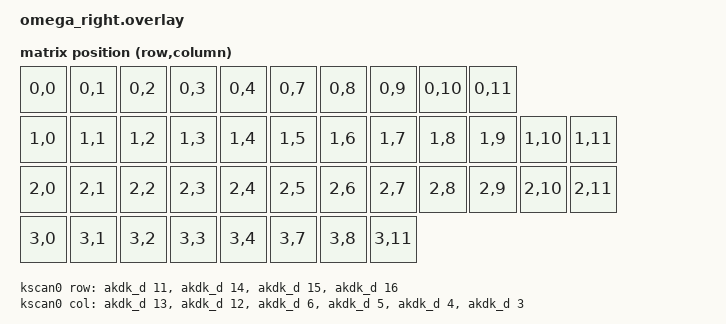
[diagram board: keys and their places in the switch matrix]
#include <dt-bindings/zmk/matrix_transform.h>
#include <input/processors.dtsi>
#include <dt-bindings/zmk/input_transform.h>
#include "layouts.dtsi"
#include <scroll-snap.dtsi>

/* 1. AMLの除外設定 */
&zip_temp_layer {
    excluded-positions = < 18 19 >;
};

/* 2. スクロールスナップのしきい値設定（超強力版に上書き） */
&zip_scroll_snap {
    x-threshold = <1 1>;
    y-threshold = <1 1>;
    xy-threshold = <0 1>;
    require-n-samples = <5>;
    immediate-snap-threshold = <1000>;
    lock-duration-ms = <1000>;
    lock-for-next-n-events = <50>;
    idle-reset-timeout-ms = <200>;
};

/* 3. メインのルートノード */
/ {
    chosen {
        zmk,physical-layout = &physical_layout0;
    };

    default_transform: keymap_transform_0 {
        compatible = "zmk,matrix-transform";
        columns = <12>;
        rows = <4>;
        col-offset = <6>;
        map = <
            RC(0,0) RC(0,1) RC(0,2) RC(0,3) RC(0,4) RC(0,7) RC(0,8) RC(0,9) RC(0,10) RC(0,11)
            RC(1,0) RC(1,1) RC(1,2) RC(1,3) RC(1,4) RC(1,5) RC(1,6) RC(1,7) RC(1,8) RC(1,9) RC(1,10) RC(1,11)
            RC(2,0) RC(2,1) RC(2,2) RC(2,3) RC(2,4) RC(2,5) RC(2,6) RC(2,7) RC(2,8) RC(2,9) RC(2,10) RC(2,11)
            RC(3,0) RC(3,1) RC(3,2) RC(3,3) RC(3,4) RC(3,7) RC(3,8) RC(3,11)
        >;
    };

    kscan0: kscan {
        compatible = "zmk,kscan-gpio-matrix";
        wakeup-source;
        diode-direction = "col2row";
        row-gpios
            = <&akdk_d 11 (GPIO_ACTIVE_HIGH | GPIO_PULL_DOWN)>
            ,<&akdk_d 14 (GPIO_ACTIVE_HIGH | GPIO_PULL_DOWN)>
            ,<&akdk_d 15 (GPIO_ACTIVE_HIGH | GPIO_PULL_DOWN)>
            ,<&akdk_d 16 (GPIO_ACTIVE_HIGH | GPIO_PULL_DOWN)>
            ;
        col-gpios
            = <&akdk_d 13 GPIO_ACTIVE_HIGH>
            ,<&akdk_d 12 GPIO_ACTIVE_HIGH>
            ,<&akdk_d 6 GPIO_ACTIVE_HIGH>
            ,<&akdk_d 5 GPIO_ACTIVE_HIGH>
            ,<&akdk_d 4 GPIO_ACTIVE_HIGH>
            ,<&akdk_d 3 GPIO_ACTIVE_HIGH>
            ;
    };

    trackball_listener: trackball_listener {
        compatible = "zmk,input-listener";
        device = <&trackball>;
        
        input-processors = <
            &zip_xy_transform (INPUT_TRANSFORM_X_INVERT | INPUT_TRANSFORM_Y_INVERT)
            &zip_xy_scaler 1 4
            &zip_temp_layer 5 2000
        >;
            
        scroll {
            layers = <6>;
            input-processors = <
                &zip_xy_transform (INPUT_TRANSFORM_X_INVERT)
                &zip_xy_to_scroll_mapper
                &zip_scroll_snap
                &zip_scroll_scaler 1 12
            >;
        };

        gesture {
            layers = <7>;
            input-processors = <
                &zip_xy_transform (INPUT_TRANSFORM_X_INVERT | INPUT_TRANSFORM_Y_INVERT)
                &zip_mouse_gesture
                &zip_xy_scaler 0 1 /* ★追加：ジェスチャー中のポインタ移動を無効化 */
            >;
        };
    };
};

/* 以降のハードウェア参照ノード */
&physical_layout0 {
    kscan = <&kscan0>;
    transform = <&default_transform>;
};

&pinctrl {
    spi0_default: spi0_default {
        group1 {
            psels = <NRF_PSEL(SPIM_SCK, 0, 12)>,
                <NRF_PSEL(SPIM_MOSI, 1, 9)>,
                <NRF_PSEL(SPIM_MISO, 1, 9)>;
        };
    };
    spi0_sleep: spi0_sleep {
        group1 {
            psels = <NRF_PSEL(SPIM_SCK, 0, 12)>,
                <NRF_PSEL(SPIM_MOSI, 1, 9)>,
                <NRF_PSEL(SPIM_MISO, 1, 9)>;
            low-power-enable;
        };
    };
};

&spi0 {
    status = "okay";
    compatible = "nordic,nrf-spim";
    pinctrl-0 = <&spi0_default>;
    pinctrl-1 = <&spi0_sleep>;
    pinctrl-names = "default", "sleep";
    cs-gpios = <&gpio0 13 GPIO_ACTIVE_LOW>;

    trackball: trackball@0 {
        status = "okay";
        compatible = "pixart,paw3222";
        reg = <0>;
        spi-max-frequency = <2000000>;
        irq-gpios = <&gpio0 15 GPIO_ACTIVE_LOW>;
    };
};
